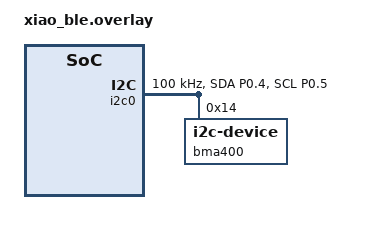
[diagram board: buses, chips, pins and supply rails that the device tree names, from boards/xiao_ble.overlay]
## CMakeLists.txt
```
cmake_minimum_required(VERSION 3.20.0)
set(KCONFIG_ROOT ${CMAKE_CURRENT_LIST_DIR}/Kconfig)
find_package(Zephyr REQUIRED HINTS $ENV{ZEPHYR_BASE})

project(DataCollection)

target_include_directories(app PRIVATE
    include
    drivers/bma400
)

target_sources(app PRIVATE
    src/main.c

    src/app/app_commands.c
    src/app/app_state.c
    src/app/app_session.c
    src/app/app.c

    src/sensor/bma400_app.c

    src/transport/ble_data_service.c
    src/transport/ble_protocol.c

    src/step/step_registry.c
    src/step/step_preprocess.c
    src/step/step_profiles.c

    src/step/algorithms/step_alg_none.c
    src/step/algorithms/step_alg_peak.c
    src/step/algorithms/step_alg_adaptive_peak.c
    src/step/algorithms/step_alg_zero_crossing.c
    src/step/algorithms/step_alg_fft.c
    src/step/algorithms/step_alg_autocorr.c

    drivers/bma400/bma400.c
)
```

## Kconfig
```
mainmenu "DataCollection"

config APP_DEVICE_ID
    int "Application device id"
    range 1 255
    default 1
    help
      Unique application device identifier.

source "Kconfig.zephyr"
```

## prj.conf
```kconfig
CONFIG_I2C=y

CONFIG_BT=y
CONFIG_BT_PERIPHERAL=y
CONFIG_APP_DEVICE_ID=1
CONFIG_BT_DEVICE_NAME="BMA400_WRIST"
CONFIG_BT_DEVICE_APPEARANCE=833

CONFIG_BT_GATT_CLIENT=n
CONFIG_BT_MAX_CONN=1

CONFIG_PRINTK=y
CONFIG_CONSOLE=y
CONFIG_UART_CONSOLE=y

CONFIG_BT_BUF_ACL_TX_COUNT=10
CONFIG_BT_BUF_EVT_RX_COUNT=12
CONFIG_BT_BUF_ACL_TX_SIZE=251
CONFIG_BT_L2CAP_TX_MTU=247
CONFIG_BT_ATT_PREPARE_COUNT=2
```

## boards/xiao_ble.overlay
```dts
#include <zephyr/dt-bindings/pinctrl/nrf-pinctrl.h>
#include <zephyr/dt-bindings/i2c/i2c.h>

/ {
    aliases {
        bma400 = &bma400;
    };
};

&pinctrl {
    i2c0_default: i2c0_default {
        group1 {
            psels = <NRF_PSEL(TWIM_SDA, 0, 4)>,
                    <NRF_PSEL(TWIM_SCL, 0, 5)>;
        };
    };

    i2c0_sleep: i2c0_sleep {
        group1 {
            psels = <NRF_PSEL(TWIM_SDA, 0, 4)>,
                    <NRF_PSEL(TWIM_SCL, 0, 5)>;
            low-power-enable;
        };
    };
};

&i2c0 {
    compatible = "nordic,nrf-twim";
    status = "okay";
    clock-frequency = <I2C_BITRATE_STANDARD>;

    pinctrl-0 = <&i2c0_default>;
    pinctrl-1 = <&i2c0_sleep>;
    pinctrl-names = "default", "sleep";

    bma400: bma400@14 {
        compatible = "i2c-device";
        reg = <0x14>;
        status = "okay";
    };
};
```

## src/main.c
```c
#include <stdio.h>
#include <stdlib.h>
#include <string.h>
#include <zephyr/kernel.h>
#include <zephyr/sys/printk.h>
#include <zephyr/sys/byteorder.h>
#include "app/app_config.h"

#include "sensor/bma400_app.h"
#include "transport/ble_data_service.h"

#define SAMPLE_PERIOD_MS 20
#define MAX_SAMPLES 1000

#define BLE_PKT_SAMPLE 0x01
#define BLE_PKT_BEGIN  0x10
#define BLE_PKT_END    0x11

struct accel_record {
    uint32_t sample_id;
    uint32_t t_ms;
    int16_t ax;
    int16_t ay;
    int16_t az;
};

enum app_state {
    APP_STATE_IDLE = 0,
    APP_STATE_COLLECTING,
    APP_STATE_TRANSMITTING,
    APP_STATE_DONE,
    APP_STATE_ERROR
};

static struct accel_record samples[MAX_SAMPLES];
static uint32_t sample_count;

static volatile bool start_requested;
static volatile bool send_requested;
static volatile bool clear_requested;
static volatile bool status_requested;

static uint32_t requested_duration_ms;

static uint32_t collect_start_uptime_ms;

static enum app_state state = APP_STATE_IDLE;

static const char *state_to_string(enum app_state s)
{
    switch (s) {
    case APP_STATE_IDLE:
        return "IDLE";
    case APP_STATE_COLLECTING:
        return "COLLECTING";
    case APP_STATE_TRANSMITTING:
        return "TRANSMITTING";
    case APP_STATE_DONE:
        return "DONE";
    case APP_STATE_ERROR:
        return "ERROR";
    default:
        return "UNKNOWN";
    }
}

static void send_status(void)
{
    char line[96];

    snprintf(line, sizeof(line),
             "STATUS,%s,samples=%u,max=%u\n",
             state_to_string(state),
             sample_count,
             MAX_SAMPLES);

    ble_data_service_send_text(line);
}

static void app_command_handler(const char *command)
{
    if (strncmp(command, "SYNC,", 5) == 0) {
        char reply[80];
        char *endptr;
        unsigned long seq;

        seq = strtoul(&command[5], &endptr, 10);

        if (endptr == &command[5]) {
            ble_data_service_send_text("ERROR,INVALID_SYNC_SEQ\n");
            return;
        }

        /*
         * Timestamp możliwie blisko wysłania odpowiedzi.
        */
        uint32_t device_uptime_ms = k_uptime_get_32();

        snprintf(reply, sizeof(reply),
                 "SYNC_REPLY,%lu,%u,%u\n",
                 seq,
                 APP_DEVICE_ID,
                 device_uptime_ms);

        ble_data_service_send_text(reply);
        return;
    }
    printk("App command handler: %s\n", command);

    if (strcmp(command, "PING") == 0) {
        ble_data_service_send_text("PONG\n");
        return;
    }

    if (strncmp(command, "START,", 6) == 0) {
        uint32_t duration = (uint32_t)atoi(&command[6]);

        if (duration == 0) {
            ble_data_service_send_text("ERROR,INVALID_DURATION\n");
            return;
        }

        uint32_t max_duration = MAX_SAMPLES * SAMPLE_PERIOD_MS;

        if (duration > max_duration) {
            duration = max_duration;
        }

        if (state == APP_STATE_COLLECTING || state == APP_STATE_TRANSMITTING) {
            ble_data_service_send_text("ERROR,BUSY\n");
            return;
        }

        requested_duration_ms = duration;
        start_requested = true;

        ble_data_service_send_text("START_ACCEPTED\n");
        return;
    }

    if (strcmp(command, "SEND") == 0) {
        if (state == APP_STATE_COLLECTING || state == APP_STATE_TRANSMITTING) {
            ble_data_service_send_text("ERROR,BUSY\n");
            return;
        }

        send_requested = true;
        ble_data_service_send_text("SEND_ACCEPTED\n");
        return;
    }

    if (strcmp(command, "CLEAR") == 0) {
        if (state == APP_STATE_COLLECTING || state == APP_STATE_TRANSMITTING) {
            ble_data_service_send_text("ERROR,BUSY\n");
            return;
        }

        clear_requested = true;
        ble_data_service_send_text("CLEAR_ACCEPTED\n");
        return;
    }

    if (strcmp(command, "STATUS") == 0) {
        status_requested = true;
        return;
    }

    ble_data_service_send_text("ERROR,UNKNOWN_COMMAND\n");
}

static void collect_samples(uint32_t duration_ms)
{
    int ret;
    int64_t t0_ms;
    int64_t next_sample_ms;
    uint32_t max_requested_samples;

    state = APP_STATE_COLLECTING;
    sample_count = 0;

    max_requested_samples = duration_ms / SAMPLE_PERIOD_MS;

    if (max_requested_samples > MAX_SAMPLES) {
        max_requested_samples = MAX_SAMPLES;
    }

    printk("Collecting samples: duration=%u ms, target=%u samples\n",
           duration_ms,
           max_requested_samples);

    ble_data_service_send_text("COLLECTING\n");

    t0_ms = k_uptime_get();
    collect_start_uptime_ms = (uint32_t)t0_ms;
    next_sample_ms = t0_ms;

    for (uint32_t i = 0; i < max_requested_samples; i++) {
        struct bma400_app_accel_raw accel;
        int64_t now_ms;
        int64_t sleep_ms;

        now_ms = k_uptime_get();
        sleep_ms = next_sample_ms - now_ms;

        if (sleep_ms > 0) {
            k_sleep(K_MSEC((uint32_t)sleep_ms));
        }

        now_ms = k_uptime_get();

        ret = bma400_app_read_accel_raw(&accel);
        if (ret != 0) {
            printk("bma400_app_read_accel_raw failed: %d\n", ret);
            state = APP_STATE_ERROR;
            ble_data_service_send_text("ERROR,BMA400_READ_FAILED\n");
            return;
        }

        samples[sample_count].sample_id = sample_count;
        samples[sample_count].t_ms = (uint32_t)(now_ms - t0_ms);
        samples[sample_count].ax = accel.x;
        samples[sample_count].ay = accel.y;
        samples[sample_count].az = accel.z;

        sample_count++;

        next_sample_ms += SAMPLE_PERIOD_MS;
    }

    state = APP_STATE_DONE;

    printk("Collection done: samples=%u\n", sample_count);
    ble_data_service_send_text("COLLECTION_DONE\n");
}

static void transmit_samples(void)
{
    uint8_t packet[20];

    if (!ble_data_service_is_connected()) {
        printk("Cannot transmit: BLE not connected\n");
        return;
    }

    if (!ble_data_service_notifications_enabled()) {
        printk("Cannot transmit: notifications not enabled\n");
        return;
    }

    state = APP_STATE_TRANSMITTING;

    printk("Transmitting %u binary samples\n", sample_count);

    /*
     * BEGIN packet:
     * [0]     type = 0x10
     * [1]     device_id uint8
     * [2..5]  sample_count uint32 LE
     * [6..7]  sample_period_ms uint16 LE
     * [8..11] collect_start_uptime_ms uint32 LE
     */
    packet[0] = BLE_PKT_BEGIN;
    packet[1] = APP_DEVICE_ID;
    sys_put_le32(sample_count, &packet[2]);
    sys_put_le16(SAMPLE_PERIOD_MS, &packet[6]);
    sys_put_le32(collect_start_uptime_ms, &packet[8]);

    int ret = ble_data_service_send_bytes(packet, 12);
    if (ret != 0) {
        printk("BLE BEGIN send failed: %d\n", ret);
        state = APP_STATE_ERROR;
        return;
    }

    for (uint32_t i = 0; i < sample_count; i++) {
        /*
         * SAMPLE packet:
         * [0]       type = 0x01
         * [1]       device_id uint8
         * [2..5]    sample_id uint32 LE
         * [6..9]    t_ms uint32 LE
         * [10..11]  ax int16 LE
         * [12..13]  ay int16 LE
         * [14..15]  az int16 LE
         */
        packet[0] = BLE_PKT_SAMPLE;
        packet[1] = APP_DEVICE_ID;
        sys_put_le32(samples[i].sample_id, &packet[2]);
        sys_put_le32(samples[i].t_ms, &packet[6]);
        sys_put_le16((uint16_t)samples[i].ax, &packet[10]);
        sys_put_le16((uint16_t)samples[i].ay, &packet[12]);
        sys_put_le16((uint16_t)samples[i].az, &packet[14]);

        ret = ble_data_service_send_bytes(packet, 16);
        if (ret != 0) {
            printk("BLE SAMPLE send failed at sample %u, ret=%d\n", i, ret);
            state = APP_STATE_ERROR;
            return;
        }
    }

    /*
     * END packet:
     * [0]     type = 0x11
     * [1]     device_id uint8
     * [2..5]  sample_count uint32 LE
     */
    packet[0] = BLE_PKT_END;
    packet[1] = APP_DEVICE_ID;
    sys_put_le32(sample_count, &packet[2]);

    ret = ble_data_service_send_bytes(packet, 6);
    if (ret != 0) {
        printk("BLE END send failed: %d\n", ret);
        state = APP_STATE_ERROR;
        return;
    }

    state = APP_STATE_DONE;

    printk("Binary transmission done\n");
}

int main(void)
{
    int ret;

    k_msleep(3000);

    printk("\n\n=== BMA400 BLE data collector boot ===\n");
    printk("APP_DEVICE_NAME=%s\n", APP_DEVICE_NAME);
    printk("APP_DEVICE_ID=%d\n", APP_DEVICE_ID);

    ret = bma400_app_init();
    if (ret != 0) {
        while (1) {
            printk("BMA400 init failed, ret=%d\n", ret);
            k_sleep(K_MSEC(1000));
        }
    }

    printk("BMA400 init OK\n");

    ret = ble_data_service_init();
    printk("ble_data_service_init ret=%d\n", ret);

    if (ret != 0) {
        while (1) {
            printk("BLE init failed, ret=%d\n", ret);
            k_sleep(K_MSEC(1000));
        }
    }

    ble_data_service_set_command_handler(app_command_handler);

    printk("Ready. Commands: PING, STATUS, CLEAR, SEND, START,<duration_ms>\n");

    while (1) {
        if (status_requested) {
            status_requested = false;
            send_status();
        }

        if (clear_requested) {
            clear_requested = false;
            sample_count = 0;
            state = APP_STATE_IDLE;
            ble_data_service_send_text("CLEARED\n");
        }

        if (start_requested) {
            uint32_t duration = requested_duration_ms;

            start_requested = false;

            collect_samples(duration);

            if (state == APP_STATE_DONE) {
                ble_data_service_send_text("READY_TO_SEND\n");
            }
        }

        if (send_requested) {
            send_requested = false;
            transmit_samples();
        }

        printk("Heartbeat: state=%s connected=%d notify=%d samples=%u\n",
               state_to_string(state),
               ble_data_service_is_connected(),
               ble_data_service_notifications_enabled(),
               sample_count);

        k_sleep(K_MSEC(500));
    }

    return 0;
}
```

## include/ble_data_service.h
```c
#ifndef BLE_DATA_SERVICE_H_
#define BLE_DATA_SERVICE_H_

#include <stdbool.h>
#include <stdint.h>

#ifdef __cplusplus
extern "C" {
#endif

typedef void (*ble_command_handler_t)(const char *command);

int ble_data_service_init(void);

int ble_data_service_send_text(const char *text);

bool ble_data_service_is_connected(void);

bool ble_data_service_notifications_enabled(void);

void ble_data_service_set_command_handler(ble_command_handler_t handler);

#ifdef __cplusplus
}
#endif

#endif /* BLE_DATA_SERVICE_H_ */
```

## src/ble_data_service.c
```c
#include "ble_data_service.h"

#include <errno.h>
#include <stddef.h>
#include <string.h>

#include <zephyr/kernel.h>
#include <zephyr/sys/printk.h>
#include <zephyr/sys/util.h>

#include <zephyr/bluetooth/bluetooth.h>
#include <zephyr/bluetooth/conn.h>
#include <zephyr/bluetooth/gatt.h>
#include <zephyr/bluetooth/uuid.h>

/*
 * Custom BLE profile:
 *
 * Service:
 *   12345678-1234-5678-1234-56789abcdef0
 *
 * Command characteristic, WRITE:
 *   12345678-1234-5678-1234-56789abcdef1
 *
 * Data characteristic, NOTIFY:
 *   12345678-1234-5678-1234-56789abcdef2
 */

#define BT_UUID_BMA400_SERVICE_VAL \
    BT_UUID_128_ENCODE(0x12345678, 0x1234, 0x5678, 0x1234, 0x56789abcdef0)

#define BT_UUID_BMA400_COMMAND_VAL \
    BT_UUID_128_ENCODE(0x12345678, 0x1234, 0x5678, 0x1234, 0x56789abcdef1)

#define BT_UUID_BMA400_DATA_VAL \
    BT_UUID_128_ENCODE(0x12345678, 0x1234, 0x5678, 0x1234, 0x56789abcdef2)

#define BT_UUID_BMA400_SERVICE BT_UUID_DECLARE_128(BT_UUID_BMA400_SERVICE_VAL)
#define BT_UUID_BMA400_COMMAND BT_UUID_DECLARE_128(BT_UUID_BMA400_COMMAND_VAL)
#define BT_UUID_BMA400_DATA    BT_UUID_DECLARE_128(BT_UUID_BMA400_DATA_VAL)

#define COMMAND_BUFFER_SIZE 64

static struct bt_conn *current_conn;
static bool data_notify_enabled;

static void data_ccc_cfg_changed(const struct bt_gatt_attr *attr, uint16_t value);

static ssize_t command_write_cb(struct bt_conn *conn,
                                const struct bt_gatt_attr *attr,
                                const void *buf,
                                uint16_t len,
                                uint16_t offset,
                                uint8_t flags);

static const uint8_t adv_flags[] = {
    BT_LE_AD_GENERAL | BT_LE_AD_NO_BREDR
};

static const uint8_t adv_service_uuid[] = {
    BT_UUID_BMA400_SERVICE_VAL
};

static const struct bt_data ad[] = {
    BT_DATA(BT_DATA_FLAGS, adv_flags, sizeof(adv_flags)),
    BT_DATA(BT_DATA_NAME_COMPLETE,
            CONFIG_BT_DEVICE_NAME,
            sizeof(CONFIG_BT_DEVICE_NAME) - 1),
};

static const struct bt_data sd[] = {
    BT_DATA(BT_DATA_UUID128_ALL,
            adv_service_uuid,
            sizeof(adv_service_uuid)),
};

static ble_command_handler_t command_handler;

/*
 * Attribute indexes:
 * 0 - Primary service
 * 1 - Command characteristic declaration
 * 2 - Command characteristic value
 * 3 - Data characteristic declaration
 * 4 - Data characteristic value
 * 5 - Data CCC
 */
BT_GATT_SERVICE_DEFINE(bma400_svc,
    BT_GATT_PRIMARY_SERVICE(BT_UUID_BMA400_SERVICE),

    BT_GATT_CHARACTERISTIC(BT_UUID_BMA400_COMMAND,
                           BT_GATT_CHRC_WRITE | BT_GATT_CHRC_WRITE_WITHOUT_RESP,
                           BT_GATT_PERM_WRITE,
                           NULL,
                           command_write_cb,
                           NULL),

    BT_GATT_CHARACTERISTIC(BT_UUID_BMA400_DATA,
                           BT_GATT_CHRC_NOTIFY,
                           BT_GATT_PERM_NONE,
                           NULL,
                           NULL,
                           NULL),

    BT_GATT_CCC(data_ccc_cfg_changed,
                BT_GATT_PERM_READ | BT_GATT_PERM_WRITE)
);

static void connected_cb(struct bt_conn *conn, uint8_t err)
{
    if (err) {
        printk("BLE connection failed, err=%u\n", err);
        return;
    }

    current_conn = bt_conn_ref(conn);
    printk("BLE connected\n");
}

static void disconnected_cb(struct bt_conn *conn, uint8_t reason)
{
    printk("BLE disconnected, reason=%u\n", reason);

    data_notify_enabled = false;

    if (current_conn) {
        bt_conn_unref(current_conn);
        current_conn = NULL;
    }
}

BT_CONN_CB_DEFINE(conn_callbacks) = {
    .connected = connected_cb,
    .disconnected = disconnected_cb,
};

static void data_ccc_cfg_changed(const struct bt_gatt_attr *attr, uint16_t value)
{
    data_notify_enabled = (value == BT_GATT_CCC_NOTIFY);

    printk("Data notifications %s\n",
           data_notify_enabled ? "enabled" : "disabled");
}

bool ble_data_service_is_connected(void)
{
    return current_conn != NULL;
}

bool ble_data_service_notifications_enabled(void)
{
    return data_notify_enabled;
}

int ble_data_service_send_text(const char *text)
{
    size_t len;
    size_t offset = 0;

    if (text == NULL) {
        return -EINVAL;
    }

    if (current_conn == NULL) {
        printk("BLE send failed: not connected\n");
        return -ENOTCONN;
    }

    if (!data_notify_enabled) {
        printk("BLE send failed: notifications not enabled\n");
        return -EACCES;
    }

    len = strlen(text);

    while (offset < len) {
        uint16_t mtu = bt_gatt_get_mtu(current_conn);
        uint16_t payload_max = 20;

        if (mtu > 3) {
            payload_max = mtu - 3;
        }

        /*
         * Keep a conservative upper bound for now.
         * This makes the first test robust even without MTU negotiation.
         */
        payload_max = MIN(payload_max, 20);

        size_t chunk_len = MIN((size_t)payload_max, len - offset);

        int ret = bt_gatt_notify(current_conn,
                                 &bma400_svc.attrs[4],
                                 &text[offset],
                                 chunk_len);

        if (ret != 0) {
            printk("bt_gatt_notify failed: %d\n", ret);
            return ret;
        }

        offset += chunk_len;

        /*
         * Give BLE stack a little breathing room.
         * Later we can optimize this.
         */
        k_msleep(10);
    }

    return 0;
}

void ble_data_service_set_command_handler(ble_command_handler_t handler)
{
    command_handler = handler;
}

static ssize_t command_write_cb(struct bt_conn *conn,
                                const struct bt_gatt_attr *attr,
                                const void *buf,
                                uint16_t len,
                                uint16_t offset,
                                uint8_t flags)
{
    char command[COMMAND_BUFFER_SIZE];

    if (offset != 0) {
        return BT_GATT_ERR(BT_ATT_ERR_INVALID_OFFSET);
    }

    if (len >= sizeof(command)) {
        return BT_GATT_ERR(BT_ATT_ERR_INVALID_ATTRIBUTE_LEN);
    }

    memcpy(command, buf, len);
    command[len] = '\0';

    printk("BLE command received: %s\n", command);

    if (command_handler != NULL) {
        command_handler(command);
    } else {
        if (strcmp(command, "PING") == 0) {
            int ret = ble_data_service_send_text("PONG\n");
            printk("PONG send ret=%d\n", ret);
        } else {
            ble_data_service_send_text("UNKNOWN_COMMAND\n");
        }
    }

    return len;
}

int ble_data_service_init(void)
{
    int ret;

    printk("Initializing BLE\n");

    ret = bt_enable(NULL);
    if (ret != 0) {
        printk("bt_enable failed: %d\n", ret);
        return ret;
    }

    printk("BLE enabled\n");

    ret = bt_le_adv_start(BT_LE_ADV_CONN_FAST_1,
                          ad,
                          ARRAY_SIZE(ad),
                          sd,
                          ARRAY_SIZE(sd));

    if (ret != 0) {
        printk("bt_le_adv_start failed: %d\n", ret);
        return ret;
    }

    printk("BLE advertising as %s\n", CONFIG_BT_DEVICE_NAME);

    return 0;
}
```

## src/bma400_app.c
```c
#include "../include/bma400_app.h"

#include <zephyr/kernel.h>
#include <zephyr/device.h>
#include <zephyr/drivers/i2c.h>
#include <zephyr/sys/printk.h>

#include "../drivers/bma400/bma400.h"

/*
 * This alias must exist in devicetree overlay:
 *
 * / {
 *     aliases {
 *         bma400 = &bma400;
 *     };
 * };
 */
#define BMA400_NODE DT_ALIAS(bma400)

/*
 * BMA400 raw acceleration registers.
 * According to BMA400 register map:
 * X/Y/Z acceleration data starts at 0x04.
 *
 * Layout:
 * 0x04 X LSB
 * 0x05 X MSB
 * 0x06 Y LSB
 * 0x07 Y MSB
 * 0x08 Z LSB
 * 0x09 Z MSB
 */
#define BMA400_REG_ACCEL_X_LSB 0x04
#define BMA400_ACCEL_DATA_LEN  6

static const struct i2c_dt_spec bma400_i2c = I2C_DT_SPEC_GET(BMA400_NODE);

static struct bma400_dev bma400_dev_ctx;

static uint8_t bma400_i2c_addr;

/*
 * Bosch API I2C read callback.
 */
static BMA400_INTF_RET_TYPE bma400_zephyr_i2c_read(uint8_t reg_addr,
                                                    uint8_t *reg_data,
                                                    uint32_t len,
                                                    void *intf_ptr)
{
    uint8_t dev_addr = *(uint8_t *)intf_ptr;

    int ret = i2c_burst_read(bma400_i2c.bus,
                             dev_addr,
                             reg_addr,
                             reg_data,
                             len);

    if (ret == 0) {
        return BMA400_INTF_RET_SUCCESS;
    }

    return BMA400_E_COM_FAIL;
}

/*
 * Bosch API I2C write callback.
 */
static BMA400_INTF_RET_TYPE bma400_zephyr_i2c_write(uint8_t reg_addr,
                                                     const uint8_t *reg_data,
                                                     uint32_t len,
                                                     void *intf_ptr)
{
    uint8_t dev_addr = *(uint8_t *)intf_ptr;

    int ret = i2c_burst_write(bma400_i2c.bus,
                              dev_addr,
                              reg_addr,
                              reg_data,
                              len);

    if (ret == 0) {
        return BMA400_INTF_RET_SUCCESS;
    }

    return BMA400_E_COM_FAIL;
}

/*
 * Bosch API delay callback.
 */
static void bma400_zephyr_delay_us(uint32_t period_us, void *intf_ptr)
{
    ARG_UNUSED(intf_ptr);

    if (period_us < 1000U) {
        k_busy_wait(period_us);
    } else {
        k_usleep(period_us);
    }
}

static int16_t sign_extend_12bit(uint16_t raw)
{
    raw &= 0x0FFF;

    if (raw & 0x0800) {
        raw |= 0xF000;
    }

    return (int16_t)raw;
}

int bma400_app_init(void)
{
    int8_t rslt;
    struct bma400_sensor_conf conf;

    if (!device_is_ready(bma400_i2c.bus)) {
        printk("ERROR: BMA400 I2C bus is not ready\n");
        return -1;
    }

    bma400_i2c_addr = bma400_i2c.addr;

    bma400_dev_ctx.intf = BMA400_I2C_INTF;
    bma400_dev_ctx.read = bma400_zephyr_i2c_read;
    bma400_dev_ctx.write = bma400_zephyr_i2c_write;
    bma400_dev_ctx.delay_us = bma400_zephyr_delay_us;
    bma400_dev_ctx.intf_ptr = &bma400_i2c_addr;

    /*
     * Some Bosch SensorAPI versions expose read_write_len.
     * If your bma400_dev struct does not have this field, remove this line.
     */
#ifdef BMA400_ENABLE
    bma400_dev_ctx.read_write_len = 32;
#endif

    rslt = bma400_init(&bma400_dev_ctx);
    if (rslt != BMA400_OK) {
        printk("bma400_init failed: %d\n", rslt);
        return rslt;
    }

    rslt = bma400_soft_reset(&bma400_dev_ctx);
    if (rslt != BMA400_OK) {
        printk("bma400_soft_reset failed: %d\n", rslt);
        return rslt;
    }

    k_msleep(10);

    conf.type = BMA400_ACCEL;

    rslt = bma400_get_sensor_conf(&conf, 1, &bma400_dev_ctx);
    if (rslt != BMA400_OK) {
        printk("bma400_get_sensor_conf failed: %d\n", rslt);
        return rslt;
    }

    /*
     * Start configuration for data collection.
     *
     * For first tests:
     * - 100 Hz
     * - +-2g
     * - filtered accel data
     *
     * Later we can switch to:
     * - 50 Hz for walking experiments
     * - +-4g or +-8g if running causes saturation
     */
    conf.param.accel.odr = BMA400_ODR_100HZ;
    conf.param.accel.range = BMA400_RANGE_2G;
    conf.param.accel.data_src = BMA400_DATA_SRC_ACCEL_FILT_1;

    rslt = bma400_set_sensor_conf(&conf, 1, &bma400_dev_ctx);
    if (rslt != BMA400_OK) {
        printk("bma400_set_sensor_conf failed: %d\n", rslt);
        return rslt;
    }

    rslt = bma400_set_power_mode(BMA400_MODE_NORMAL, &bma400_dev_ctx);
    if (rslt != BMA400_OK) {
        printk("bma400_set_power_mode failed: %d\n", rslt);
        return rslt;
    }

    k_msleep(50);

    printk("BMA400 initialized successfully\n");

    return 0;
}

int bma400_app_read_accel_raw(struct bma400_app_accel_raw *accel)
{
    uint8_t data[BMA400_ACCEL_DATA_LEN];
    int ret;

    if (accel == NULL) {
        return -1;
    }

    ret = i2c_burst_read_dt(&bma400_i2c,
                            BMA400_REG_ACCEL_X_LSB,
                            data,
                            sizeof(data));

    if (ret != 0) {
        return ret;
    }

    /*
     * BMA400 acceleration data is 12-bit signed.
     * Data format:
     * raw_x = (msb << 8 | lsb) >> 4
     */
    uint16_t raw_x = ((uint16_t)data[1] << 8) | data[0];
    uint16_t raw_y = ((uint16_t)data[3] << 8) | data[2];
    uint16_t raw_z = ((uint16_t)data[5] << 8) | data[4];

    accel->x = sign_extend_12bit(raw_x >> 4);
    accel->y = sign_extend_12bit(raw_y >> 4);
    accel->z = sign_extend_12bit(raw_z >> 4);

    return 0;
}

int32_t bma400_app_raw_to_mg(int16_t raw)
{
    /*
     * For +-2g and 12-bit signed output:
     * range is -2048..2047 for -2g..+2g.
     * Therefore 1g ~= 1024 LSB.
     */
    return ((int32_t)raw * 1000) / 1024;
}
```
